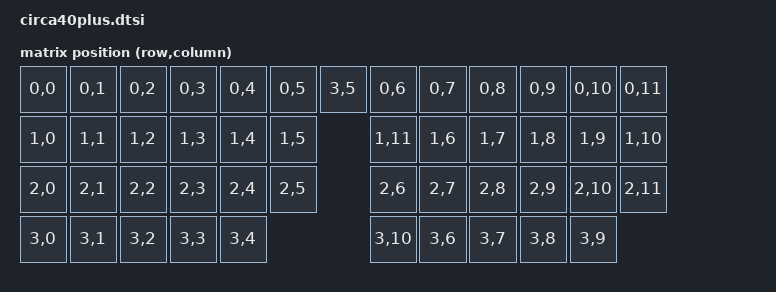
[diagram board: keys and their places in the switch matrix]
#include <dt-bindings/zmk/matrix_transform.h>
#include <dt-bindings/gpio/gpio.h>

/ {
    chosen {
        zmk,kscan = &kscan0;
        zmk,matrix-transform = &default_transform;
    };

    default_transform: keymap_transform_0 {
        compatible = "zmk,matrix-transform";
        rows = <4>;
        columns = <12>;
        // Physical order: each visual row, left half then right half.
        // SW45 is physically on the top row but wired to Row3_L / Col5_L.
        // SW46 precedes H; SW49 precedes the right thumb Enter.
        map = <
            RC(0,0) RC(0,1) RC(0,2) RC(0,3) RC(0,4) RC(0,5) RC(3,5)  RC(0,6) RC(0,7) RC(0,8) RC(0,9) RC(0,10) RC(0,11)
            RC(1,0) RC(1,1) RC(1,2) RC(1,3) RC(1,4) RC(1,5)          RC(1,11) RC(1,6) RC(1,7) RC(1,8) RC(1,9) RC(1,10)
            RC(2,0) RC(2,1) RC(2,2) RC(2,3) RC(2,4) RC(2,5)          RC(2,6) RC(2,7) RC(2,8) RC(2,9) RC(2,10) RC(2,11)
            RC(3,0) RC(3,1) RC(3,2) RC(3,3) RC(3,4)                  RC(3,10) RC(3,6) RC(3,7) RC(3,8) RC(3,9)
        >;
    };

    kscan0: kscan {
        compatible = "zmk,kscan-gpio-matrix";
        diode-direction = "col2row";
        wakeup-source;
    };
};

// These stock buses must not claim the keyboard's header GPIOs.
&xiao_serial { status = "disabled"; };
&xiao_i2c { status = "disabled"; };
&xiao_spi { status = "disabled"; };
